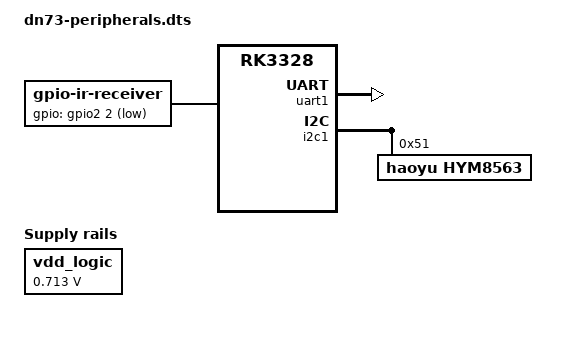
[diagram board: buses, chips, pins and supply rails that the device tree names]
/dts-v1/;
/plugin/;

/*
 * Giada DN73 - RS232 and RTC for an existing dusun-dsom-010r install.
 *
 * Companion to gmac2io-rtl8211.dts. Everything here is also in
 * userpatches/kernel/archive/rockchip64-6.18/dt/rk3328-giada-dn73.dts; this
 * overlay exists so a machine already running a dusun-based image can pick the
 * peripherals up without being reinstalled.
 *
 * Values taken from the vendor device tree "GIADA JHS557 ANDROID Q", extracted
 * from the firmware image with scripts/extract-dtb.py.
 */

/ {
	compatible = "rockchip,rk3328";

	/*
	 * The dusun profile drives GPIO3_A5 and GPIO3_A7 as USB VBUS enables.
	 * On this board those are uart1 RTS and CTS - the DB9 on the back
	 * panel - so pinctrl hands them to the regulators and the serial port
	 * can never claim them. The real enables are GPIO0_A2 and GPIO2_C5.
	 *
	 * Moving them does not change USB behaviour: all four connectors were
	 * measured to enumerate with both pins driven low, so VBUS is not
	 * gated on this revision. It is the serial port that this buys back.
	 */
	fragment@0 {
		target = <&usb_otg_drv>;

		__overlay__ {
			rockchip,pins = <0 2 0 &pcfg_pull_none>;	/* GPIO0_A2 */
		};
	};

	fragment@1 {
		target = <&usb_host_drv>;

		__overlay__ {
			rockchip,pins = <2 21 0 &pcfg_pull_none>;	/* GPIO2_C5 */
		};
	};

	fragment@2 {
		target = <&vcc_otg_5v>;

		__overlay__ {
			gpio = <&gpio0 2 0>;
		};
	};

	fragment@3 {
		target = <&vcc_host_5v>;

		__overlay__ {
			gpio = <&gpio2 21 0>;
		};
	};

	/*
	 * IR receiver on GPIO2_A2. The part is fitted and demodulates: a
	 * remote produces clean NEC frames on the pin, so rc-core decodes it
	 * without the vendor's PWM-capture driver, which has no mainline
	 * equivalent anyway. No keymap - load one with ir-keytable.
	 */
	fragment@6 {
		target-path = "/";

		__overlay__ {
			ir-receiver {
				compatible = "gpio-ir-receiver";
				gpios = <&gpio2 2 1>;	/* GPIO2_A2, active low */
				pinctrl-names = "default";
				pinctrl-0 = <&ir_int>;
			};
		};
	};

	fragment@7 {
		target = <&pinctrl>;

		__overlay__ {
			ir {
				ir_int: ir-int {
					rockchip,pins = <2 2 0 &pcfg_pull_none>;
				};
			};
		};
	};

	/* RS232 on the DB9, with hardware flow control. Becomes /dev/ttyS1. */
	fragment@4 {
		target = <&uart1>;

		__overlay__ {
			pinctrl-names = "default";
			pinctrl-0 = <&uart1_xfer>, <&uart1_cts>, <&uart1_rts>;
			status = "okay";
		};
	};

	/*
	 * vdd_log is the GPU's mali-supply, and opp-table-gpu in rk3328.dtsi
	 * asks for 1075000 uV at 200, 300 and 400 MHz. The dusun profile
	 * bounds this rail at 1100000, which puts all three OPPs out of range;
	 * _opp_add drops them, devfreq init fails and lima never binds:
	 *
	 *   lima ff300000.gpu: probe with driver lima failed with error -34
	 *
	 * The result is /dev/dri/card0 from rockchip-drm and no render node -
	 * no GPU acceleration at all. 712500 is the RK805 DCDC1 minimum and
	 * what upstream rk3328 boards use.
	 */
	fragment@8 {
		target = <&vdd_logic>;

		__overlay__ {
			regulator-min-microvolt = <712500>;
		};
	};

	/*
	 * Battery-backed RTC next to the PMIC. No interrupt is described: the
	 * vendor points irq_gpio at GPIO2_C4, but with the alarm flag latched
	 * in the chip no GPIO bank's EXT_PORT register changes, so the INT
	 * line does not reach the SoC. It goes to the power circuitry, which
	 * is what makes the scheduled power-on feature work while the SoC is
	 * off. Describing it here would only create a wakealarm that accepts a
	 * time and never fires.
	 *
	 * Note this registers as rtc1 - an overlay cannot usefully add an
	 * rtc0 alias, since the RK805 has already taken the number by the time
	 * this probes. The board DTS does set the alias.
	 */
	fragment@5 {
		target = <&i2c1>;

		__overlay__ {
			#address-cells = <1>;
			#size-cells = <0>;

			hym8563: rtc@51 {
				compatible = "haoyu,hym8563";
				reg = <0x51>;
				#clock-cells = <0>;
				clock-output-names = "hym8563_clkout";
			};
		};
	};
};
